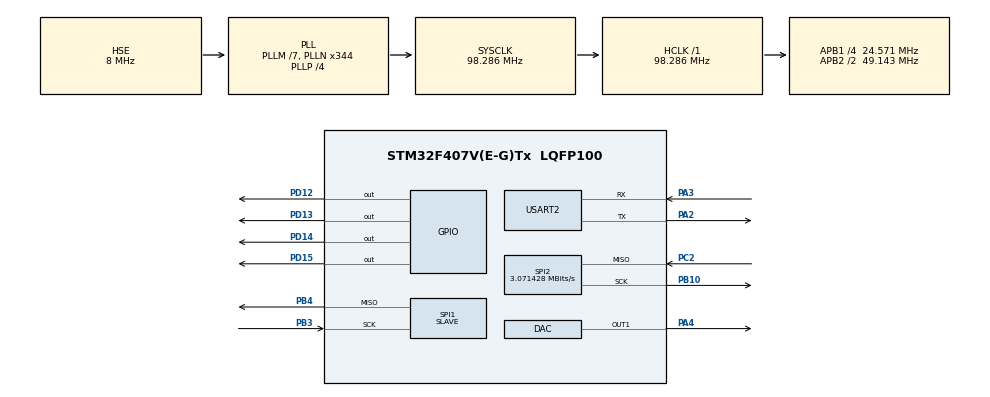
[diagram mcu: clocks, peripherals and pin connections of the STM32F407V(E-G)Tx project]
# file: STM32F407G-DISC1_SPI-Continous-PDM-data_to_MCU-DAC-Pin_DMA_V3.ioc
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DAC.DAC_Trigger=DAC_TRIGGER_T2_TRGO
Dma.DAC1.0.Direction=DMA_MEMORY_TO_PERIPH
Dma.DAC1.0.FIFOMode=DMA_FIFOMODE_DISABLE
Dma.DAC1.0.Instance=DMA1_Stream5
Dma.DAC1.0.MemDataAlignment=DMA_MDATAALIGN_HALFWORD
Dma.DAC1.0.MemInc=DMA_MINC_ENABLE
Dma.DAC1.0.Mode=DMA_CIRCULAR
Dma.DAC1.0.PeriphDataAlignment=DMA_PDATAALIGN_HALFWORD
Dma.DAC1.0.PeriphInc=DMA_PINC_DISABLE
Dma.DAC1.0.Priority=DMA_PRIORITY_MEDIUM
Dma.Request0=DAC1
Dma.Request1=SPI2_RX
Dma.Request2=SPI1_TX
Dma.SPI1_TX.2.Direction=DMA_MEMORY_TO_PERIPH
Dma.SPI1_TX.2.FIFOMode=DMA_FIFOMODE_DISABLE
Dma.SPI1_TX.2.Instance=DMA2_Stream3
Dma.SPI1_TX.2.MemDataAlignment=DMA_MDATAALIGN_BYTE
Dma.SPI1_TX.2.MemInc=DMA_MINC_ENABLE
Dma.SPI1_TX.2.Mode=DMA_CIRCULAR
Dma.SPI1_TX.2.PeriphDataAlignment=DMA_PDATAALIGN_BYTE
Dma.SPI1_TX.2.PeriphInc=DMA_PINC_DISABLE
Dma.SPI1_TX.2.Priority=DMA_PRIORITY_MEDIUM
Dma.SPI2_RX.1.Direction=DMA_PERIPH_TO_MEMORY
Dma.SPI2_RX.1.FIFOMode=DMA_FIFOMODE_DISABLE
Dma.SPI2_RX.1.Instance=DMA1_Stream3
Dma.SPI2_RX.1.MemDataAlignment=DMA_MDATAALIGN_BYTE
Dma.SPI2_RX.1.MemInc=DMA_MINC_ENABLE
Dma.SPI2_RX.1.Mode=DMA_CIRCULAR
Dma.SPI2_RX.1.PeriphDataAlignment=DMA_PDATAALIGN_BYTE
Dma.SPI2_RX.1.PeriphInc=DMA_PINC_DISABLE
Dma.SPI2_RX.1.Priority=DMA_PRIORITY_MEDIUM
Mcu.Family=STM32F4
Mcu.Name=STM32F407V(E-G)Tx
Mcu.Package=LQFP100
NVIC.DMA1_Stream3_IRQn=true\:0\:0\:false\:false\:true\:false\:true\:true
NVIC.DMA1_Stream5_IRQn=true\:0\:0\:false\:false\:true\:false\:true\:true
NVIC.DMA2_Stream3_IRQn=true\:0\:0\:false\:false\:true\:false\:true\:true
NVIC.PriorityGroup=NVIC_PRIORITYGROUP_0
NVIC.TIM2_IRQn=true\:0\:0\:false\:false\:true\:true\:true\:true
NVIC.TIM6_DAC_IRQn=true\:0\:0\:false\:false\:true\:true\:true\:true
PA13.Mode=Serial_Wire
PA13.Signal=SYS_JTMS-SWDIO
PA14.Mode=Serial_Wire
PA14.Signal=SYS_JTCK-SWCLK
PA2.Mode=Asynchronous
PA2.Signal=USART2_TX
PA3.Mode=Asynchronous
PA3.Signal=USART2_RX
PA4.Signal=COMP_DAC1_group
PB10.GPIO_Speed=GPIO_SPEED_FREQ_LOW
PB10.Mode=RX_Only_Simplex_Unidirect_Master
PB10.Signal=SPI2_SCK
PB15.GPIO_Speed=GPIO_SPEED_FREQ_LOW
PB15.Signal=SPI2_MOSI
PB3.GPIO_Speed=GPIO_SPEED_FREQ_LOW
PB3.Mode=TX_Only_Simplex_Unidirect_Slave
PB3.Signal=SPI1_SCK
PB4.GPIO_Speed=GPIO_SPEED_FREQ_LOW
PB4.Mode=TX_Only_Simplex_Unidirect_Slave
PB4.Signal=SPI1_MISO
PB5.GPIO_Speed=GPIO_SPEED_FREQ_LOW
PB5.Signal=SPI1_MOSI
PC2.Mode=RX_Only_Simplex_Unidirect_Master
PC2.Signal=SPI2_MISO
PD12.Signal=GPIO_Output
PD13.Signal=GPIO_Output
PD14.Signal=GPIO_Output
PD15.Signal=GPIO_Output
PDM2PCM.CHANNEL1_in_ptr_channels=1
PDM2PCM.CHANNEL1_out_ptr_channels=1
PDM2PCM.CHANNEL1_output_samples_number=5
PH0-OSC_IN.Mode=HSE-External-Oscillator
PH0-OSC_IN.Signal=RCC_OSC_IN
PH1-OSC_OUT.Mode=HSE-External-Oscillator
PH1-OSC_OUT.Signal=RCC_OSC_OUT
ProjectManager.HeapSize=0x200
ProjectManager.StackSize=0x400
ProjectManager.TargetToolchain=STM32CubeIDE
RCC.48MHZClocksFreq_Value=56163265.30612246
RCC.AHBFreq_Value=98285714.2857143
RCC.APB1CLKDivider=RCC_HCLK_DIV4
RCC.APB1Freq_Value=24571428.571428575
RCC.APB1TimFreq_Value=49142857.14285715
RCC.APB2CLKDivider=RCC_HCLK_DIV2
RCC.APB2Freq_Value=49142857.14285715
RCC.APB2TimFreq_Value=98285714.2857143
RCC.CortexFreq_Value=98285714.2857143
RCC.HCLKFreq_Value=98285714.2857143
RCC.HSE_VALUE=8000000
RCC.HSI_VALUE=16000000
RCC.LSE_VALUE=32768
RCC.PLLM=7
RCC.PLLN=344
RCC.PLLP=RCC_PLLP_DIV4
RCC.PLLQ=7
RCC.PLLSourceVirtual=RCC_PLLSOURCE_HSE
RCC.SYSCLKFreq_VALUE=98285714.2857143
RCC.SYSCLKSource=RCC_SYSCLKSOURCE_PLLCLK
RCC.VCOOutputFreq_Value=393142857.1428572
SH.COMP_DAC1_group.0=DAC_OUT1,DAC_OUT1
SPI1.Direction=SPI_DIRECTION_2LINES
SPI1.Mode=SPI_MODE_SLAVE
SPI1.VirtualType=VM_SLAVE
SPI2.BaudRatePrescaler=SPI_BAUDRATEPRESCALER_8
SPI2.CalculateBaudRate=3.071428 MBits/s
SPI2.Direction=SPI_DIRECTION_2LINES_RXONLY
SPI2.Mode=SPI_MODE_MASTER
SPI2.VirtualType=VM_MASTER
TIM2.AutoReloadPreload=TIM_AUTORELOAD_PRELOAD_ENABLE
TIM2.Period=64-1
TIM2.Prescaler=16-1
TIM2.TIM_MasterOutputTrigger=TIM_TRGO_UPDATE
USART2.VirtualMode=VM_ASYNC
VP_CRC_VS_CRC.Mode=CRC_Activate
VP_PDM2PCM_VS_PDM2PCM.Mode=PDM2PCM_Channel
VP_TIM2_VS_ClockSourceINT.Mode=Internal
board=STM32F407G-DISC1

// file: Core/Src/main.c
/* USER CODE BEGIN Header */
/**
 ******************************************************************************
 * @file           : main.c
 * @brief          : Main program body
 ******************************************************************************
 * @attention
 *
 * <h2><center>&copy; Copyright (c) 2021 STMicroelectronics.
 * All rights reserved.</center></h2>
 *
 * This software component is licensed by ST under Ultimate Liberty license
 * SLA0044, the "License"; You may not use this file except in compliance with
 * the License. You may obtain a copy of the License at:
 *                             www.st.com/SLA0044
 *
 ******************************************************************************
 */
/* USER CODE END Header */
#include "main.h"
#include "pdm2pcm.h"

/* USER CODE BEGIN Includes */

#include <stdio.h>
#include "pdm_tones.h"

/* USER CODE END Includes */

 CRC_HandleTypeDef hcrc;

DAC_HandleTypeDef hdac;
DMA_HandleTypeDef hdma_dac1;

SPI_HandleTypeDef hspi1;
SPI_HandleTypeDef hspi2;
DMA_HandleTypeDef hdma_spi1_tx;
DMA_HandleTypeDef hdma_spi2_rx;

TIM_HandleTypeDef htim2;

UART_HandleTypeDef huart2;

/* USER CODE BEGIN PV */

uint8_t SPI_PDM_rx_data[80], SPI_PDM_rx_data_400[400], SPI_PDM_rx_data_2k[2000], SPI_PDM_rx_data_4k[4000], SPI_PDM_tx_data_4k[4000];

int16_t PCM_outBuffer[500];
uint16_t PCM_DAC_outBuffer[500];

/* USER CODE END PV */

void SystemClock_Config(void);
static void MX_GPIO_Init(void);
static void MX_USART2_UART_Init(void);
static void MX_DMA_Init(void);
static void MX_CRC_Init(void);
static void MX_DAC_Init(void);
static void MX_SPI1_Init(void);
static void MX_SPI2_Init(void);
static void MX_TIM2_Init(void);
/* USER CODE BEGIN PFP */

#define PUTCHAR_PROTOTYPE int __io_putchar(int ch)

/* USER CODE END PFP */

int main(void)
{

  /* MCU Configuration--------------------------------------------------------*/

  /* Reset of all peripherals, Initializes the Flash interface and the Systick. */
  HAL_Init();

  /* Configure the system clock */
  SystemClock_Config();

  /* Initialize all configured peripherals */
  MX_GPIO_Init();
  MX_USART2_UART_Init();
  MX_DMA_Init();
  MX_CRC_Init();
  MX_PDM2PCM_Init();
  MX_DAC_Init();
  MX_SPI1_Init();
  MX_SPI2_Init();
  MX_TIM2_Init();
  /* USER CODE BEGIN 2 */

	printf("Starting >> STM32F407G-DISC1_SPI-Continous-PDM-data_to_MCU-DAC-Pin_DMA \n");

	// first bit to MSB - 8bit tone "AA"
	for (uint16_t i = 0; i < sizeof(tone500HzA4_pdmdata) * 4; i++) {
		pdmBuffer8_8000bits_1000bytes_1[i >> 3] = 0xAA;
		//		printf("i = %d,  i >>3 = %d, i mod sizeof(tone500HzA4_pdmdata) = %d \n",i, i >>3, i % sizeof(tone500HzA4_pdmdata));
	}

	// first bit to MSB - 8bit tone500Hz_pdmdata
	for (uint16_t i = 0; i < sizeof(tone500Hz_pdmdata) * 4; i++) {
		pdmBuffer8_8000bits_1000bytes_2[i >> 3] = (pdmBuffer8_8000bits_1000bytes_2[i >> 3] << 1) + tone500Hz_pdmdata[i % sizeof(tone500Hz_pdmdata)];
		//		printf("i = %d,  i >>3 = %d, i mod sizeof(tone500Hz_pdmdata) = %d \n",i, i >>3, i % sizeof(tone500Hz_pdmdata));
	}

	// first bit to MSB - 8bit tone500HzA4_pdmdata
	for (uint16_t i = 0; i < sizeof(tone500HzA4_pdmdata) * 4; i++) {
		pdmBuffer8_8000bits_1000bytes_3[i >> 3] = (pdmBuffer8_8000bits_1000bytes_3[i >> 3] << 1) + tone500HzA4_pdmdata[i % sizeof(tone500HzA4_pdmdata)];
		//		printf("i = %d,  i >>3 = %d, i mod sizeof(tone500HzA4_pdmdata) = %d \n",i, i >>3, i % sizeof(tone500HzA4_pdmdata));
	}

	for (uint16_t i = 0; i < 1000; i++) {
		pdmBuffer8_8000bits_4000bytes[i] = pdmBuffer8_8000bits_1000bytes_1[i]; // 0xAA data
	}

	for (uint16_t i = 0; i < 1000; i++) {
		pdmBuffer8_8000bits_4000bytes[i + 1000] = pdmBuffer8_8000bits_1000bytes_2[i]; // tone500Hz_pdmdata
	}

	for (uint16_t i = 0; i < 1000; i++) {
		pdmBuffer8_8000bits_4000bytes[i + 2000] = pdmBuffer8_8000bits_1000bytes_1[i]; // 0xAA data
	}

	for (uint16_t i = 0; i < 1000; i++) {
		pdmBuffer8_8000bits_4000bytes[i + 3000] = pdmBuffer8_8000bits_1000bytes_3[i]; // tone500HzA4_pdmdata
	}

	for (uint16_t i = 0; i < 4000; i++) {
		SPI_PDM_rx_data_4k[i] = pdmBuffer8_8000bits_4000bytes[i]; // tone500HzA4_pdmdata
	}

//	GPIOD->BSRR = (1 << 15); // Set
//	PDM_Filter(&pdmBuffer8_8000bits_4000bytes[0], &PCM_outBuffer[0], &PDM1_filter_handler); // 2000bytes x 8bit/bytes = 16,000 bit / 64 decimate = 250 int of data
//	GPIOD->BSRR = (1 << (15 + 16)); // Reset
//
//	GPIOD->BSRR = (1 << 15); // Set
//	PDM_Filter(&pdmBuffer8_8000bits_4000bytes[2000], &PCM_outBuffer[250], &PDM1_filter_handler); // 2000bytes x 8bit/bytes = 16,000 bit / 64 decimate = 250 int of data
//	GPIOD->BSRR = (1 << (15 + 16)); // Reset

	for (int cntr = 0; cntr < 50; cntr++) { // 4000bytes x 8bit/bytes = 32,000 bit / 64 decimate = 500 int of data
		PCM_DAC_outBuffer[cntr] = (PCM_outBuffer[cntr] >> 4) + 2048; // convert to 12bit DC offset of DAC data
	}

	HAL_SPI_Transmit_DMA(&hspi1, SPI_PDM_rx_data_4k, 4000);
	HAL_SPI_Receive_DMA(&hspi2, SPI_PDM_rx_data, 80);

	HAL_DAC_Start_DMA(&hdac, DAC_CHANNEL_1, (uint32_t*) PCM_DAC_outBuffer, 10, DAC_ALIGN_12B_R); // 4000bytes x 8bit/bytes = 32,000 bit / 64 decimate = 500 int of data

	HAL_TIM_Base_Start(&htim2); //Start the timer

	HAL_Delay(100);

	printf("Ending   >> STM32F407G-DISC1_SPI-Continous-PDM-data_to_MCU-DAC-Pin_DMA \n");

  /* USER CODE END 2 */

  /* Infinite loop */
	while (1) {

	}
}

void SystemClock_Config(void)
{
  RCC_OscInitTypeDef RCC_OscInitStruct = {0};
  RCC_ClkInitTypeDef RCC_ClkInitStruct = {0};

  /** Configure the main internal regulator output voltage
  */
  __HAL_RCC_PWR_CLK_ENABLE();
  __HAL_PWR_VOLTAGESCALING_CONFIG(PWR_REGULATOR_VOLTAGE_SCALE1);

  /** Initializes the RCC Oscillators according to the specified parameters
  * in the RCC_OscInitTypeDef structure.
  */
  RCC_OscInitStruct.OscillatorType = RCC_OSCILLATORTYPE_HSE;
  RCC_OscInitStruct.HSEState = RCC_HSE_ON;
  RCC_OscInitStruct.PLL.PLLState = RCC_PLL_ON;
  RCC_OscInitStruct.PLL.PLLSource = RCC_PLLSOURCE_HSE;
  RCC_OscInitStruct.PLL.PLLM = 7;
  RCC_OscInitStruct.PLL.PLLN = 344;
  RCC_OscInitStruct.PLL.PLLP = RCC_PLLP_DIV4;
  RCC_OscInitStruct.PLL.PLLQ = 7;
  if (HAL_RCC_OscConfig(&RCC_OscInitStruct) != HAL_OK)
  {
    Error_Handler();
  }

  /** Initializes the CPU, AHB and APB buses clocks
  */
  RCC_ClkInitStruct.ClockType = RCC_CLOCKTYPE_HCLK|RCC_CLOCKTYPE_SYSCLK
                              |RCC_CLOCKTYPE_PCLK1|RCC_CLOCKTYPE_PCLK2;
  RCC_ClkInitStruct.SYSCLKSource = RCC_SYSCLKSOURCE_PLLCLK;
  RCC_ClkInitStruct.AHBCLKDivider = RCC_SYSCLK_DIV1;
  RCC_ClkInitStruct.APB1CLKDivider = RCC_HCLK_DIV4;
  RCC_ClkInitStruct.APB2CLKDivider = RCC_HCLK_DIV2;

  if (HAL_RCC_ClockConfig(&RCC_ClkInitStruct, FLASH_LATENCY_3) != HAL_OK)
  {
    Error_Handler();
  }
}

static void MX_CRC_Init(void)
{

  hcrc.Instance = CRC;
  if (HAL_CRC_Init(&hcrc) != HAL_OK)
  {
    Error_Handler();
  }
  __HAL_CRC_DR_RESET(&hcrc);

}

static void MX_DAC_Init(void)
{

  DAC_ChannelConfTypeDef sConfig = {0};

  /** DAC Initialization
  */
  hdac.Instance = DAC;
  if (HAL_DAC_Init(&hdac) != HAL_OK)
  {
    Error_Handler();
  }

  /** DAC channel OUT1 config
  */
  sConfig.DAC_Trigger = DAC_TRIGGER_T2_TRGO;
  sConfig.DAC_OutputBuffer = DAC_OUTPUTBUFFER_ENABLE;
  if (HAL_DAC_ConfigChannel(&hdac, &sConfig, DAC_CHANNEL_1) != HAL_OK)
  {
    Error_Handler();
  }

}

static void MX_SPI1_Init(void)
{

  /* SPI1 parameter configuration*/
  hspi1.Instance = SPI1;
  hspi1.Init.Mode = SPI_MODE_SLAVE;
  hspi1.Init.Direction = SPI_DIRECTION_2LINES;
  hspi1.Init.DataSize = SPI_DATASIZE_8BIT;
  hspi1.Init.CLKPolarity = SPI_POLARITY_LOW;
  hspi1.Init.CLKPhase = SPI_PHASE_1EDGE;
  hspi1.Init.NSS = SPI_NSS_SOFT;
  hspi1.Init.FirstBit = SPI_FIRSTBIT_MSB;
  hspi1.Init.TIMode = SPI_TIMODE_DISABLE;
  hspi1.Init.CRCCalculation = SPI_CRCCALCULATION_DISABLE;
  hspi1.Init.CRCPolynomial = 10;
  if (HAL_SPI_Init(&hspi1) != HAL_OK)
  {
    Error_Handler();
  }

}

static void MX_SPI2_Init(void)
{

  /* SPI2 parameter configuration*/
  hspi2.Instance = SPI2;
  hspi2.Init.Mode = SPI_MODE_MASTER;
  hspi2.Init.Direction = SPI_DIRECTION_2LINES_RXONLY;
  hspi2.Init.DataSize = SPI_DATASIZE_8BIT;
  hspi2.Init.CLKPolarity = SPI_POLARITY_LOW;
  hspi2.Init.CLKPhase = SPI_PHASE_1EDGE;
  hspi2.Init.NSS = SPI_NSS_SOFT;
  hspi2.Init.BaudRatePrescaler = SPI_BAUDRATEPRESCALER_8;
  hspi2.Init.FirstBit = SPI_FIRSTBIT_MSB;
  hspi2.Init.TIMode = SPI_TIMODE_DISABLE;
  hspi2.Init.CRCCalculation = SPI_CRCCALCULATION_DISABLE;
  hspi2.Init.CRCPolynomial = 10;
  if (HAL_SPI_Init(&hspi2) != HAL_OK)
  {
    Error_Handler();
  }

}

static void MX_TIM2_Init(void)
{

  TIM_ClockConfigTypeDef sClockSourceConfig = {0};
  TIM_MasterConfigTypeDef sMasterConfig = {0};

  htim2.Instance = TIM2;
  htim2.Init.Prescaler = 16-1;
  htim2.Init.CounterMode = TIM_COUNTERMODE_UP;
  htim2.Init.Period = 64-1;
  htim2.Init.ClockDivision = TIM_CLOCKDIVISION_DIV1;
  htim2.Init.AutoReloadPreload = TIM_AUTORELOAD_PRELOAD_ENABLE;
  if (HAL_TIM_Base_Init(&htim2) != HAL_OK)
  {
    Error_Handler();
  }
  sClockSourceConfig.ClockSource = TIM_CLOCKSOURCE_INTERNAL;
  if (HAL_TIM_ConfigClockSource(&htim2, &sClockSourceConfig) != HAL_OK)
  {
    Error_Handler();
  }
  sMasterConfig.MasterOutputTrigger = TIM_TRGO_UPDATE;
  sMasterConfig.MasterSlaveMode = TIM_MASTERSLAVEMODE_DISABLE;
  if (HAL_TIMEx_MasterConfigSynchronization(&htim2, &sMasterConfig) != HAL_OK)
  {
    Error_Handler();
  }

}

static void MX_USART2_UART_Init(void)
{

  huart2.Instance = USART2;
  huart2.Init.BaudRate = 115200;
  huart2.Init.WordLength = UART_WORDLENGTH_8B;
  huart2.Init.StopBits = UART_STOPBITS_1;
  huart2.Init.Parity = UART_PARITY_NONE;
  huart2.Init.Mode = UART_MODE_TX_RX;
  huart2.Init.HwFlowCtl = UART_HWCONTROL_NONE;
  huart2.Init.OverSampling = UART_OVERSAMPLING_16;
  if (HAL_UART_Init(&huart2) != HAL_OK)
  {
    Error_Handler();
  }

}

static void MX_DMA_Init(void)
{

  /* DMA controller clock enable */
  __HAL_RCC_DMA1_CLK_ENABLE();
  __HAL_RCC_DMA2_CLK_ENABLE();

  /* DMA interrupt init */
  /* DMA1_Stream3_IRQn interrupt configuration */
  HAL_NVIC_SetPriority(DMA1_Stream3_IRQn, 0, 0);
  HAL_NVIC_EnableIRQ(DMA1_Stream3_IRQn);
  /* DMA1_Stream5_IRQn interrupt configuration */
  HAL_NVIC_SetPriority(DMA1_Stream5_IRQn, 0, 0);
  HAL_NVIC_EnableIRQ(DMA1_Stream5_IRQn);
  /* DMA2_Stream3_IRQn interrupt configuration */
  HAL_NVIC_SetPriority(DMA2_Stream3_IRQn, 0, 0);
  HAL_NVIC_EnableIRQ(DMA2_Stream3_IRQn);

}

static void MX_GPIO_Init(void)
{
  GPIO_InitTypeDef GPIO_InitStruct = {0};

  /* GPIO Ports Clock Enable */
  __HAL_RCC_GPIOH_CLK_ENABLE();
  __HAL_RCC_GPIOC_CLK_ENABLE();
  __HAL_RCC_GPIOA_CLK_ENABLE();
  __HAL_RCC_GPIOB_CLK_ENABLE();
  __HAL_RCC_GPIOD_CLK_ENABLE();

  /*Configure GPIO pin Output Level */
  HAL_GPIO_WritePin(GPIOD, GPIO_PIN_12|GPIO_PIN_13|GPIO_PIN_14|GPIO_PIN_15, GPIO_PIN_RESET);

  /*Configure GPIO pins : PD12 PD13 PD14 PD15 */
  GPIO_InitStruct.Pin = GPIO_PIN_12|GPIO_PIN_13|GPIO_PIN_14|GPIO_PIN_15;
  GPIO_InitStruct.Mode = GPIO_MODE_OUTPUT_PP;
  GPIO_InitStruct.Pull = GPIO_NOPULL;
  GPIO_InitStruct.Speed = GPIO_SPEED_FREQ_LOW;
  HAL_GPIO_Init(GPIOD, &GPIO_InitStruct);

}

/* USER CODE BEGIN 4 */

PUTCHAR_PROTOTYPE {
	/* Place your implementation of fputc here */
	/* e.g. write a character to the LPUART1 and Loop until the end of transmission */
	HAL_UART_Transmit(&huart2, (uint8_t*) &ch, 1, 0xFFFF);

	return ch;
}

void HAL_TIM_PeriodElapsedCallback(TIM_HandleTypeDef *htim)
{
  /* Prevent unused argument(s) compilation warning */
  UNUSED(htim);

  /* NOTE : This function should not be modified, when the callback is needed,
            the HAL_TIM_TriggerCallback could be implemented in the user file
   */

  HAL_GPIO_WritePin(GPIOD, GPIO_PIN_12, SET);
  HAL_GPIO_TogglePin(GPIOD, GPIO_PIN_13);

//  if ((timerPeriodElapsedCallbk_cntr % 2) == 0)
//  {
//	  GPIOD->BSRR = (1 << 14); // Set
//	  PDM_Filter(&pdmBuffer8_8000bits_4000bytes[0], &PCM_outBuffer[0], &PDM1_filter_handler); // 2000bytes x 8bit/bytes = 16,000 bit / 64 decimate = 250 int of data
//
//	  for (int cntr = 0; cntr < 250; cntr++) { // 4000bytes x 8bit/bytes = 32,000 bit / 64 decimate = 500 int of data
//			PCM_DAC_outBuffer[cntr] = (PCM_outBuffer[cntr] >> 4) + 2048; // convert to 12bit DC offset of DAC data
//	  }
//	  GPIOD->BSRR = (1 << (14 + 16)); // Reset
//  } else
//  {
//	  GPIOD->BSRR = (1 << 15); // Set
//	  PDM_Filter(&pdmBuffer8_8000bits_4000bytes[2000], &PCM_outBuffer[250], &PDM1_filter_handler); // 2000bytes x 8bit/bytes = 16,000 bit / 64 decimate = 250 int of data
//
//	  for (int cntr = 250; cntr < 500; cntr++) { // 4000bytes x 8bit/bytes = 32,000 bit / 64 decimate = 500 int of data
//			PCM_DAC_outBuffer[cntr] = (PCM_outBuffer[cntr] >> 4) + 2048; // convert to 12bit DC offset of DAC data
//	  }
//	  GPIOD->BSRR = (1 << (15 + 16)); // Reset
//  }
//  timerPeriodElapsedCallbk_cntr++;

}

void HAL_SPI_RxHalfCpltCallback(SPI_HandleTypeDef *hspi)
{
  /* Prevent unused argument(s) compilation warning */
  UNUSED(hspi);

  /* NOTE : This function should not be modified, when the callback is needed,
            the HAL_SPI_RxHalfCpltCallback() should be implemented in the user file
   */

  	  GPIOD->BSRR = (1 << 14); // Set
  	  // 2000bytes x 8bit/bytes = 16,000 bit / 64 decimate = 250 int of data
  	  PDM_Filter(&SPI_PDM_rx_data[0], &PCM_outBuffer[0], &PDM1_filter_handler);

  	  for (int cntr = 0; cntr < 5; cntr++) { // 4000bytes x 8bit/bytes = 32,000 bit / 64 decimate = 500 int of data
  		  // First 1/2 of received data goes to the second 1/2 of PCM output
  		  PCM_DAC_outBuffer[cntr] = (PCM_outBuffer[cntr] >> 4) + 2048; // convert to 12bit DC offset of DAC data
  	  }
  	  GPIOD->BSRR = (1 << (14 + 16)); // Reset

}

/**
  * @brief  Rx Transfer completed callback.
  * @param  hspi pointer to a SPI_HandleTypeDef structure that contains
  *               the configuration information for SPI module.
  * @retval None
  */
void HAL_SPI_RxCpltCallback(SPI_HandleTypeDef *hspi)
{
  /* Prevent unused argument(s) compilation warning */
  UNUSED(hspi);

  /* NOTE : This function should not be modified, when the callback is needed,
            the HAL_SPI_RxCpltCallback should be implemented in the user file
   */

  	  GPIOD->BSRR = (1 << 15); // Set
  	  // 2000bytes x 8bit/bytes = 16,000 bit / 64 decimate = 250 int of data
  	  PDM_Filter(&SPI_PDM_rx_data[40], &PCM_outBuffer[5], &PDM1_filter_handler); // 2000bytes x 8bit/bytes = 16,000 bit / 64 decimate = 250 int of data

  	  for (int cntr = 5; cntr < 10; cntr++) { // 4000bytes x 8bit/bytes = 32,000 bit / 64 decimate = 500 int of data
  		  // Second 1/2 of received data goes to the next First 1/2 of PCM output
  		  PCM_DAC_outBuffer[cntr] = (PCM_outBuffer[cntr] >> 4) + 2048; // convert to 12bit DC offset of DAC data
  	  }
  	  GPIOD->BSRR = (1 << (15 + 16)); // Reset

}

/**
  * @brief  Rx Half Transfer completed callback.
  * @param  hspi pointer to a SPI_HandleTypeDef structure that contains
  *               the configuration information for SPI module.
  * @retval None
  */

/* USER CODE END 4 */

void Error_Handler(void)
{
  /* USER CODE BEGIN Error_Handler_Debug */
	/* User can add his own implementation to report the HAL error return state */
	printf("Error_Handler \n");
	__disable_irq();
	while (1) {
	}
  /* USER CODE END Error_Handler_Debug */
}
